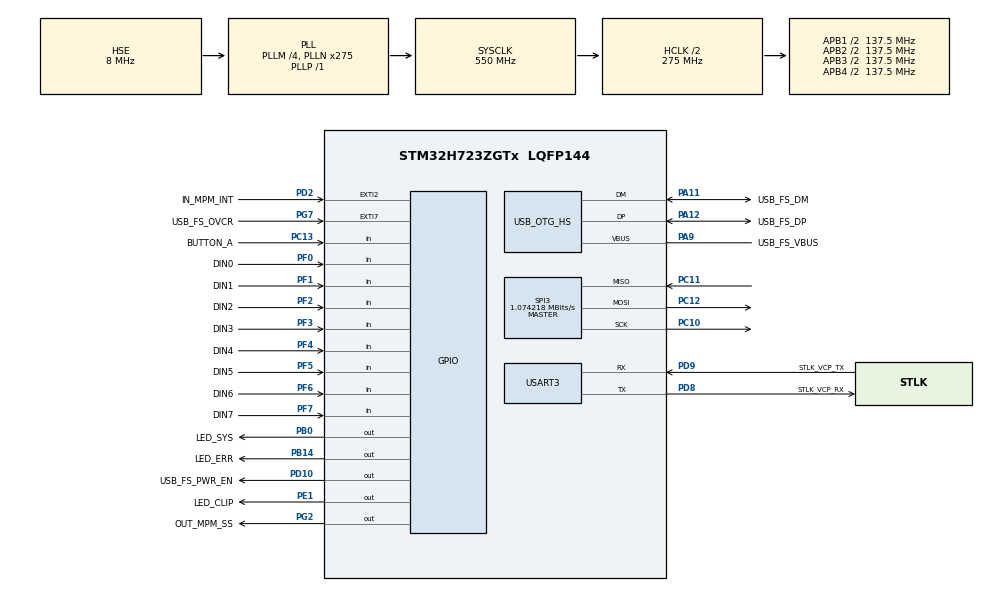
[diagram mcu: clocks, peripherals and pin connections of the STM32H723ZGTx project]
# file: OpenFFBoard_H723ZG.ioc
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CORTEX_M7.CPU_DCache=Enabled
CORTEX_M7.CPU_ICache=Enabled
FREERTOS.Tasks01=defaultTask,16,1024,StartDefaultTask,As weak,NULL,Dynamic,NULL,NULL
FREERTOS.configCHECK_FOR_STACK_OVERFLOW=2
FREERTOS.configENABLE_FPU=1
FREERTOS.configMINIMAL_STACK_SIZE=256
FREERTOS.configRECORD_STACK_HIGH_ADDRESS=1
FREERTOS.configTOTAL_HEAP_SIZE=0xffff
FREERTOS.configUSE_IDLE_HOOK=1
FREERTOS.configUSE_MALLOC_FAILED_HOOK=1
FREERTOS.configUSE_NEWLIB_REENTRANT=1
Mcu.Family=STM32H7
Mcu.Name=STM32H723ZGTx
Mcu.Package=LQFP144
NVIC.EXTI2_IRQn=true\:13\:0\:true\:false\:true\:true\:true\:true\:true
NVIC.OTG_HS_IRQn=true\:14\:0\:true\:false\:true\:true\:true\:false\:true
NVIC.PriorityGroup=NVIC_PRIORITYGROUP_4
NVIC.SPI3_IRQn=true\:12\:0\:true\:false\:true\:true\:true\:true\:true
NVIC.TIM7_IRQn=true\:4\:0\:true\:false\:true\:false\:false\:true\:true
NVIC.TimeBase=TIM7_IRQn
NVIC.TimeBaseIP=TIM7
NVIC.USART3_IRQn=true\:7\:0\:true\:false\:true\:true\:true\:true\:true
PA11.GPIO_Label=USB_FS_DM
PA11.Mode=Device_Only_FS
PA11.Signal=USB_OTG_HS_DM
PA12.GPIO_Label=USB_FS_DP
PA12.Mode=Device_Only_FS
PA12.Signal=USB_OTG_HS_DP
PA13(JTMS/SWDIO).GPIO_Label=SWDIO
PA13(JTMS/SWDIO).Mode=Trace_Asynchronous_SW
PA13(JTMS/SWDIO).Signal=DEBUG_JTMS-SWDIO
PA14(JTCK/SWCLK).GPIO_Label=SWCLK
PA14(JTCK/SWCLK).Mode=Trace_Asynchronous_SW
PA14(JTCK/SWCLK).Signal=DEBUG_JTCK-SWCLK
PA9.GPIO_Label=USB_FS_VBUS
PA9.Mode=Activate_VBUS_FS
PA9.Signal=USB_OTG_HS_VBUS
PB0.GPIO_Label=LED_SYS
PB0.Signal=GPIO_Output
PB14.GPIO_Label=LED_ERR
PB14.Signal=GPIO_Output
PB3(JTDO/TRACESWO).GPIO_Label=SWO
PB3(JTDO/TRACESWO).Mode=Trace_Asynchronous_SW
PB3(JTDO/TRACESWO).Signal=DEBUG_JTDO-SWO
PC10.GPIO_Speed=GPIO_SPEED_FREQ_HIGH
PC10.Mode=Full_Duplex_Master
PC10.Signal=SPI3_SCK
PC11.GPIO_Speed=GPIO_SPEED_FREQ_HIGH
PC11.Mode=Full_Duplex_Master
PC11.Signal=SPI3_MISO
PC12.GPIO_Speed=GPIO_SPEED_FREQ_HIGH
PC12.Mode=Full_Duplex_Master
PC12.Signal=SPI3_MOSI
PC13.GPIO_Label=BUTTON_A
PC13.GPIO_PuPd=GPIO_PULLDOWN
PC13.Signal=GPIO_Input
PD10.GPIO_Label=USB_FS_PWR_EN
PD10.Signal=GPIO_Output
PD2.GPIO_Label=IN_MPM_INT
PD2.GPIO_PuPd=GPIO_PULLDOWN
PD2.Signal=GPXTI2
PD8.GPIO_Label=STLK_VCP_RX
PD8.GPIO_Speed=GPIO_SPEED_FREQ_HIGH
PD8.Mode=Asynchronous
PD8.Signal=USART3_TX
PD9.GPIO_Label=STLK_VCP_TX
PD9.GPIO_Speed=GPIO_SPEED_FREQ_HIGH
PD9.Mode=Asynchronous
PD9.Signal=USART3_RX
PE1.GPIO_Label=LED_CLIP
PE1.Signal=GPIO_Output
PF0.GPIO_Label=DIN0
PF0.GPIO_PuPd=GPIO_PULLUP
PF0.Signal=GPIO_Input
PF1.GPIO_Label=DIN1
PF1.GPIO_PuPd=GPIO_PULLUP
PF1.Signal=GPIO_Input
PF2.GPIO_Label=DIN2
PF2.GPIO_PuPd=GPIO_PULLUP
PF2.Signal=GPIO_Input
PF3.GPIO_Label=DIN3
PF3.GPIO_PuPd=GPIO_PULLUP
PF3.Signal=GPIO_Input
PF4.GPIO_Label=DIN4
PF4.GPIO_PuPd=GPIO_PULLUP
PF4.Signal=GPIO_Input
PF5.GPIO_Label=DIN5
PF5.GPIO_PuPd=GPIO_PULLUP
PF5.Signal=GPIO_Input
PF6.GPIO_Label=DIN6
PF6.GPIO_PuPd=GPIO_PULLUP
PF6.Signal=GPIO_Input
PF7.GPIO_Label=DIN7
PF7.GPIO_PuPd=GPIO_PULLUP
PF7.Signal=GPIO_Input
PG2.GPIO_Label=OUT_MPM_SS
PG2.GPIO_Speed=GPIO_SPEED_FREQ_HIGH
PG2.Signal=GPIO_Output
PG7.GPIO_Label=USB_FS_OVCR
PG7.Signal=GPXTI7
PH0-OSC_IN.GPIO_Label=MCO
PH0-OSC_IN.Mode=HSE-External-Clock-Source
PH0-OSC_IN.Signal=RCC_OSC_IN
ProjectManager.HeapSize=0x400
ProjectManager.StackSize=0x400
ProjectManager.TargetToolchain=STM32CubeIDE
RCC.ADCFreq_Value=76000000
RCC.APB1Freq_Value=137500000
RCC.APB2Freq_Value=137500000
RCC.APB3Freq_Value=137500000
RCC.APB4Freq_Value=137500000
RCC.CortexFreq_Value=550000000
RCC.D1PPRE=RCC_APB3_DIV2
RCC.D2PPRE1=RCC_APB1_DIV2
RCC.D2PPRE2=RCC_APB2_DIV2
RCC.D3PPRE=RCC_APB4_DIV2
RCC.DIVM1=4
RCC.DIVM2=1
RCC.DIVN1=275
RCC.DIVN2=19
RCC.DIVP1=1
RCC.DIVQ1=4
RCC.HCLKFreq_Value=275000000
RCC.HPRE=RCC_HCLK_DIV2
RCC.HSE_VALUE=8000000
RCC.PLLFRACN=0
RCC.PLLSourceVirtual=RCC_PLLSOURCE_HSE
RCC.SYSCLKFreq_VALUE=550000000
RCC.SYSCLKSource=RCC_SYSCLKSOURCE_PLLCLK
RCC.USBCLockSelection=RCC_USBCLKSOURCE_HSI48
RCC.USBFreq_Value=48000000
SPI3.BaudRatePrescaler=SPI_BAUDRATEPRESCALER_128
SPI3.CLKPhase=SPI_PHASE_2EDGE
SPI3.CLKPolarity=SPI_POLARITY_HIGH
SPI3.CalculateBaudRate=1.074218 MBits/s
SPI3.DataSize=SPI_DATASIZE_16BIT
SPI3.Direction=SPI_DIRECTION_2LINES
SPI3.Mode=SPI_MODE_MASTER
SPI3.VirtualType=VM_MASTER
USART3.VirtualMode-Asynchronous=VM_ASYNC
USB_OTG_HS.VirtualMode-Device_Only_FS=Device_Only_FS
VP_FREERTOS_VS_CMSIS_V2.Mode=CMSIS_V2
VP_IWDG1_VS_IWDG.Mode=IWDG_Activate
VP_MEMORYMAP_VS_MEMORYMAP.Mode=CurAppReg
VP_SYS_VS_tim7.Mode=TIM7
board=NUCLEO-H723ZG

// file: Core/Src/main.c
/* USER CODE BEGIN Header */
/**
  ******************************************************************************
  * @file           : main.c
  * @brief          : Main program body
  ******************************************************************************
  * @attention
  *
  * <h2><center>&copy; Copyright (c) 2021 STMicroelectronics.
  * All rights reserved.</center></h2>
  *
  * This software component is licensed by ST under BSD 3-Clause license,
  * the "License"; You may not use this file except in compliance with the
  * License. You may obtain a copy of the License at:
  *                        opensource.org/licenses/BSD-3-Clause
  *
  ******************************************************************************
  */
/* USER CODE END Header */
#include "main.h"
#include "cmsis_os.h"

/* USER CODE BEGIN Includes */
#include "global_callbacks.h"
#include "cppmain.h"
extern void cppmain();
/* USER CODE END Includes */

IWDG_HandleTypeDef hiwdg1;

SPI_HandleTypeDef hspi3;

UART_HandleTypeDef huart3;

PCD_HandleTypeDef hpcd_USB_OTG_HS;

/* Definitions for defaultTask */
osThreadId_t defaultTaskHandle;
const osThreadAttr_t defaultTask_attributes = {
  .name = "defaultTask",
  .stack_size = 1024 * 4,
  .priority = (osPriority_t) osPriorityBelowNormal,
};
/* USER CODE BEGIN PV */
__attribute__((weak)) void cppmain(){
	Error_Handler();
}
/* USER CODE END PV */

void SystemClock_Config(void);
static void MX_GPIO_Init(void);
static void MX_USART3_UART_Init(void);
static void MX_SPI3_Init(void);
static void MX_IWDG1_Init(void);
void StartDefaultTask(void *argument);

int main(void)
{

  /* Enable the CPU Cache */

  /* Enable I-Cache---------------------------------------------------------*/
  SCB_EnableICache();

  /* Enable D-Cache---------------------------------------------------------*/
  SCB_EnableDCache();

  /* MCU Configuration--------------------------------------------------------*/

  /* Reset of all peripherals, Initializes the Flash interface and the Systick. */
  HAL_Init();

  /* USER CODE BEGIN Init */

  CoreDebug->DEMCR |= CoreDebug_DEMCR_TRCENA_Msk;
  DWT->CYCCNT = 0;
  DWT->CTRL |= DWT_CTRL_CYCCNTENA_Msk;

  /* USER CODE END Init */

  /* Configure the system clock */
  SystemClock_Config();

  /* Initialize all configured peripherals */
  MX_GPIO_Init();
  MX_USART3_UART_Init();
  MX_SPI3_Init();
  MX_IWDG1_Init();
  /* USER CODE BEGIN 2 */
  HAL_GPIO_WritePin(LED_ERR_GPIO_Port, LED_ERR_Pin, GPIO_PIN_SET);
  MX_USB_OTG_HS_PCD_Init();
  HAL_Delay(100);
  /* USER CODE END 2 */

  /* Init scheduler */
  osKernelInitialize();

  /* Create the thread(s) */
  /* creation of defaultTask */
  defaultTaskHandle = osThreadNew(StartDefaultTask, NULL, &defaultTask_attributes);

  /* Start scheduler */
  osKernelStart();

  /* We should never get here as control is now taken by the scheduler */

  /* Infinite loop */
  while (1)
  {

  }
}

void SystemClock_Config(void)
{
  RCC_OscInitTypeDef RCC_OscInitStruct = {0};
  RCC_ClkInitTypeDef RCC_ClkInitStruct = {0};

  /** Supply configuration update enable
  */
  HAL_PWREx_ConfigSupply(PWR_LDO_SUPPLY);

  /** Configure the main internal regulator output voltage
  */
  __HAL_PWR_VOLTAGESCALING_CONFIG(PWR_REGULATOR_VOLTAGE_SCALE0);

  while(!__HAL_PWR_GET_FLAG(PWR_FLAG_VOSRDY)) {}

  /** Initializes the RCC Oscillators according to the specified parameters
  * in the RCC_OscInitTypeDef structure.
  */
  RCC_OscInitStruct.OscillatorType = RCC_OSCILLATORTYPE_HSI48|RCC_OSCILLATORTYPE_LSI
                              |RCC_OSCILLATORTYPE_HSE;
  RCC_OscInitStruct.HSEState = RCC_HSE_BYPASS;
  RCC_OscInitStruct.LSIState = RCC_LSI_ON;
  RCC_OscInitStruct.HSI48State = RCC_HSI48_ON;
  RCC_OscInitStruct.PLL.PLLState = RCC_PLL_ON;
  RCC_OscInitStruct.PLL.PLLSource = RCC_PLLSOURCE_HSE;
  RCC_OscInitStruct.PLL.PLLM = 4;
  RCC_OscInitStruct.PLL.PLLN = 275;
  RCC_OscInitStruct.PLL.PLLP = 1;
  RCC_OscInitStruct.PLL.PLLQ = 4;
  RCC_OscInitStruct.PLL.PLLR = 2;
  RCC_OscInitStruct.PLL.PLLRGE = RCC_PLL1VCIRANGE_1;
  RCC_OscInitStruct.PLL.PLLVCOSEL = RCC_PLL1VCOWIDE;
  RCC_OscInitStruct.PLL.PLLFRACN = 0;
  if (HAL_RCC_OscConfig(&RCC_OscInitStruct) != HAL_OK)
  {
    Error_Handler();
  }

  /** Initializes the CPU, AHB and APB buses clocks
  */
  RCC_ClkInitStruct.ClockType = RCC_CLOCKTYPE_HCLK|RCC_CLOCKTYPE_SYSCLK
                              |RCC_CLOCKTYPE_PCLK1|RCC_CLOCKTYPE_PCLK2
                              |RCC_CLOCKTYPE_D3PCLK1|RCC_CLOCKTYPE_D1PCLK1;
  RCC_ClkInitStruct.SYSCLKSource = RCC_SYSCLKSOURCE_PLLCLK;
  RCC_ClkInitStruct.SYSCLKDivider = RCC_SYSCLK_DIV1;
  RCC_ClkInitStruct.AHBCLKDivider = RCC_HCLK_DIV2;
  RCC_ClkInitStruct.APB3CLKDivider = RCC_APB3_DIV2;
  RCC_ClkInitStruct.APB1CLKDivider = RCC_APB1_DIV2;
  RCC_ClkInitStruct.APB2CLKDivider = RCC_APB2_DIV2;
  RCC_ClkInitStruct.APB4CLKDivider = RCC_APB4_DIV2;

  if (HAL_RCC_ClockConfig(&RCC_ClkInitStruct, FLASH_LATENCY_3) != HAL_OK)
  {
    Error_Handler();
  }
}

static void MX_IWDG1_Init(void)
{

  hiwdg1.Instance = IWDG1;
  hiwdg1.Init.Prescaler = IWDG_PRESCALER_4;
  hiwdg1.Init.Window = 4095;
  hiwdg1.Init.Reload = 4095;
  if (HAL_IWDG_Init(&hiwdg1) != HAL_OK)
  {
    Error_Handler();
  }

}

static void MX_SPI3_Init(void)
{

  /* SPI3 parameter configuration*/
  hspi3.Instance = SPI3;
  hspi3.Init.Mode = SPI_MODE_MASTER;
  hspi3.Init.Direction = SPI_DIRECTION_2LINES;
  hspi3.Init.DataSize = SPI_DATASIZE_16BIT;
  hspi3.Init.CLKPolarity = SPI_POLARITY_HIGH;
  hspi3.Init.CLKPhase = SPI_PHASE_2EDGE;
  hspi3.Init.NSS = SPI_NSS_SOFT;
  hspi3.Init.BaudRatePrescaler = SPI_BAUDRATEPRESCALER_128;
  hspi3.Init.FirstBit = SPI_FIRSTBIT_MSB;
  hspi3.Init.TIMode = SPI_TIMODE_DISABLE;
  hspi3.Init.CRCCalculation = SPI_CRCCALCULATION_DISABLE;
  hspi3.Init.CRCPolynomial = 0x0;
  hspi3.Init.NSSPMode = SPI_NSS_PULSE_ENABLE;
  hspi3.Init.NSSPolarity = SPI_NSS_POLARITY_LOW;
  hspi3.Init.FifoThreshold = SPI_FIFO_THRESHOLD_01DATA;
  hspi3.Init.TxCRCInitializationPattern = SPI_CRC_INITIALIZATION_ALL_ZERO_PATTERN;
  hspi3.Init.RxCRCInitializationPattern = SPI_CRC_INITIALIZATION_ALL_ZERO_PATTERN;
  hspi3.Init.MasterSSIdleness = SPI_MASTER_SS_IDLENESS_00CYCLE;
  hspi3.Init.MasterInterDataIdleness = SPI_MASTER_INTERDATA_IDLENESS_00CYCLE;
  hspi3.Init.MasterReceiverAutoSusp = SPI_MASTER_RX_AUTOSUSP_DISABLE;
  hspi3.Init.MasterKeepIOState = SPI_MASTER_KEEP_IO_STATE_DISABLE;
  hspi3.Init.IOSwap = SPI_IO_SWAP_DISABLE;
  if (HAL_SPI_Init(&hspi3) != HAL_OK)
  {
    Error_Handler();
  }

}

static void MX_USART3_UART_Init(void)
{

  huart3.Instance = USART3;
  huart3.Init.BaudRate = 115200;
  huart3.Init.WordLength = UART_WORDLENGTH_8B;
  huart3.Init.StopBits = UART_STOPBITS_1;
  huart3.Init.Parity = UART_PARITY_NONE;
  huart3.Init.Mode = UART_MODE_TX_RX;
  huart3.Init.HwFlowCtl = UART_HWCONTROL_NONE;
  huart3.Init.OverSampling = UART_OVERSAMPLING_16;
  huart3.Init.OneBitSampling = UART_ONE_BIT_SAMPLE_DISABLE;
  huart3.Init.ClockPrescaler = UART_PRESCALER_DIV1;
  huart3.AdvancedInit.AdvFeatureInit = UART_ADVFEATURE_NO_INIT;
  if (HAL_UART_Init(&huart3) != HAL_OK)
  {
    Error_Handler();
  }
  if (HAL_UARTEx_SetTxFifoThreshold(&huart3, UART_TXFIFO_THRESHOLD_1_8) != HAL_OK)
  {
    Error_Handler();
  }
  if (HAL_UARTEx_SetRxFifoThreshold(&huart3, UART_RXFIFO_THRESHOLD_1_8) != HAL_OK)
  {
    Error_Handler();
  }
  if (HAL_UARTEx_DisableFifoMode(&huart3) != HAL_OK)
  {
    Error_Handler();
  }

}

void MX_USB_OTG_HS_PCD_Init(void)
{

  hpcd_USB_OTG_HS.Instance = USB_OTG_HS;
  hpcd_USB_OTG_HS.Init.dev_endpoints = 9;
  hpcd_USB_OTG_HS.Init.speed = PCD_SPEED_FULL;
  hpcd_USB_OTG_HS.Init.dma_enable = DISABLE;
  hpcd_USB_OTG_HS.Init.phy_itface = USB_OTG_EMBEDDED_PHY;
  hpcd_USB_OTG_HS.Init.Sof_enable = DISABLE;
  hpcd_USB_OTG_HS.Init.low_power_enable = DISABLE;
  hpcd_USB_OTG_HS.Init.lpm_enable = DISABLE;
  hpcd_USB_OTG_HS.Init.vbus_sensing_enable = ENABLE;
  hpcd_USB_OTG_HS.Init.use_dedicated_ep1 = DISABLE;
  hpcd_USB_OTG_HS.Init.use_external_vbus = DISABLE;
  if (HAL_PCD_Init(&hpcd_USB_OTG_HS) != HAL_OK)
  {
    Error_Handler();
  }

}

static void MX_GPIO_Init(void)
{
  GPIO_InitTypeDef GPIO_InitStruct = {0};

  /* GPIO Ports Clock Enable */
  __HAL_RCC_GPIOC_CLK_ENABLE();
  __HAL_RCC_GPIOF_CLK_ENABLE();
  __HAL_RCC_GPIOH_CLK_ENABLE();
  __HAL_RCC_GPIOB_CLK_ENABLE();
  __HAL_RCC_GPIOD_CLK_ENABLE();
  __HAL_RCC_GPIOG_CLK_ENABLE();
  __HAL_RCC_GPIOA_CLK_ENABLE();
  __HAL_RCC_GPIOE_CLK_ENABLE();

  /*Configure GPIO pin Output Level */
  HAL_GPIO_WritePin(GPIOB, LED_SYS_Pin|LED_ERR_Pin, GPIO_PIN_RESET);

  /*Configure GPIO pin Output Level */
  HAL_GPIO_WritePin(USB_FS_PWR_EN_GPIO_Port, USB_FS_PWR_EN_Pin, GPIO_PIN_RESET);

  /*Configure GPIO pin Output Level */
  HAL_GPIO_WritePin(OUT_MPM_SS_GPIO_Port, OUT_MPM_SS_Pin, GPIO_PIN_RESET);

  /*Configure GPIO pin Output Level */
  HAL_GPIO_WritePin(LED_CLIP_GPIO_Port, LED_CLIP_Pin, GPIO_PIN_RESET);

  /*Configure GPIO pin : BUTTON_A_Pin */
  GPIO_InitStruct.Pin = BUTTON_A_Pin;
  GPIO_InitStruct.Mode = GPIO_MODE_INPUT;
  GPIO_InitStruct.Pull = GPIO_PULLDOWN;
  HAL_GPIO_Init(BUTTON_A_GPIO_Port, &GPIO_InitStruct);

  /*Configure GPIO pins : DIN0_Pin DIN1_Pin DIN2_Pin DIN3_Pin
                           DIN4_Pin DIN5_Pin DIN6_Pin DIN7_Pin */
  GPIO_InitStruct.Pin = DIN0_Pin|DIN1_Pin|DIN2_Pin|DIN3_Pin
                          |DIN4_Pin|DIN5_Pin|DIN6_Pin|DIN7_Pin;
  GPIO_InitStruct.Mode = GPIO_MODE_INPUT;
  GPIO_InitStruct.Pull = GPIO_PULLUP;
  HAL_GPIO_Init(GPIOF, &GPIO_InitStruct);

  /*Configure GPIO pins : LED_SYS_Pin LED_ERR_Pin */
  GPIO_InitStruct.Pin = LED_SYS_Pin|LED_ERR_Pin;
  GPIO_InitStruct.Mode = GPIO_MODE_OUTPUT_PP;
  GPIO_InitStruct.Pull = GPIO_NOPULL;
  GPIO_InitStruct.Speed = GPIO_SPEED_FREQ_LOW;
  HAL_GPIO_Init(GPIOB, &GPIO_InitStruct);

  /*Configure GPIO pin : USB_FS_PWR_EN_Pin */
  GPIO_InitStruct.Pin = USB_FS_PWR_EN_Pin;
  GPIO_InitStruct.Mode = GPIO_MODE_OUTPUT_PP;
  GPIO_InitStruct.Pull = GPIO_NOPULL;
  GPIO_InitStruct.Speed = GPIO_SPEED_FREQ_LOW;
  HAL_GPIO_Init(USB_FS_PWR_EN_GPIO_Port, &GPIO_InitStruct);

  /*Configure GPIO pin : OUT_MPM_SS_Pin */
  GPIO_InitStruct.Pin = OUT_MPM_SS_Pin;
  GPIO_InitStruct.Mode = GPIO_MODE_OUTPUT_PP;
  GPIO_InitStruct.Pull = GPIO_NOPULL;
  GPIO_InitStruct.Speed = GPIO_SPEED_FREQ_HIGH;
  HAL_GPIO_Init(OUT_MPM_SS_GPIO_Port, &GPIO_InitStruct);

  /*Configure GPIO pin : USB_FS_OVCR_Pin */
  GPIO_InitStruct.Pin = USB_FS_OVCR_Pin;
  GPIO_InitStruct.Mode = GPIO_MODE_IT_RISING;
  GPIO_InitStruct.Pull = GPIO_NOPULL;
  HAL_GPIO_Init(USB_FS_OVCR_GPIO_Port, &GPIO_InitStruct);

  /*Configure GPIO pin : IN_MPM_INT_Pin */
  GPIO_InitStruct.Pin = IN_MPM_INT_Pin;
  GPIO_InitStruct.Mode = GPIO_MODE_IT_RISING;
  GPIO_InitStruct.Pull = GPIO_PULLDOWN;
  HAL_GPIO_Init(IN_MPM_INT_GPIO_Port, &GPIO_InitStruct);

  /*Configure GPIO pin : LED_CLIP_Pin */
  GPIO_InitStruct.Pin = LED_CLIP_Pin;
  GPIO_InitStruct.Mode = GPIO_MODE_OUTPUT_PP;
  GPIO_InitStruct.Pull = GPIO_NOPULL;
  GPIO_InitStruct.Speed = GPIO_SPEED_FREQ_LOW;
  HAL_GPIO_Init(LED_CLIP_GPIO_Port, &GPIO_InitStruct);

  /* EXTI interrupt init*/
  HAL_NVIC_SetPriority(IN_MPM_INT_EXTI_IRQn, 13, 0);
  HAL_NVIC_EnableIRQ(IN_MPM_INT_EXTI_IRQn);

}

/* USER CODE BEGIN 4 */
void RebootDFU(void) {
	*((unsigned long *)0x2001FFF0) = 0xDEADBEEF; // bkpsram. see startup assembly for jumps
	NVIC_SystemReset();
}
/* USER CODE END 4 */

__weak void StartDefaultTask(void *argument)
{
  /* USER CODE BEGIN 5 */
	HAL_GPIO_WritePin(LED_ERR_GPIO_Port, LED_ERR_Pin, GPIO_PIN_RESET);
	HAL_GPIO_WritePin(LED_CLIP_GPIO_Port, LED_CLIP_Pin, GPIO_PIN_RESET);
	HAL_GPIO_WritePin(LED_SYS_GPIO_Port, LED_SYS_Pin, GPIO_PIN_RESET);
  /* Infinite loop */
  for(;;)
  {
	  cppmain();
  }
  /* USER CODE END 5 */
}

void HAL_TIM_PeriodElapsedCallback(TIM_HandleTypeDef *htim)
{
  if (htim->Instance == TIM7)
  {
    HAL_IncTick();
  }
  /* USER CODE BEGIN Callback 1 */
  else{
	  HAL_TIM_PeriodElapsedCallback_CPP(htim);
  }
  /* USER CODE END Callback 1 */
}

void Error_Handler(void)
{
  /* USER CODE BEGIN Error_Handler_Debug */
	HAL_GPIO_WritePin(LED_ERR_GPIO_Port, LED_ERR_Pin, GPIO_PIN_RESET);

  /* User can add his own implementation to report the HAL error return state */
  __disable_irq();
  while (1)
  {
  }
  /* USER CODE END Error_Handler_Debug */
}
